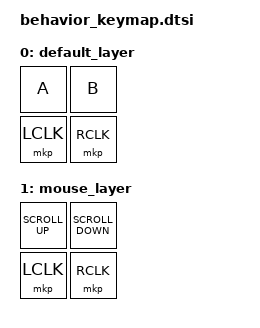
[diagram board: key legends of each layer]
#include <dt-bindings/zmk/keys.h>
#include <behaviors.dtsi>
#include <dt-bindings/zmk/kscan_mock.h>
#include <dt-bindings/zmk/pointing.h>

/* Force RC back to the 2-arg row/col variant for matrix transforms */
#undef RC
#include <dt-bindings/zmk/matrix_transform.h>

/ {
    aliases {
        bb-trackpad = &bb_trackpad;
    };

    chosen {
        zmk,kscan = &kscan0;
        zmk,matrix_transform = &default_transform;
    };

    /* Mock SPI bus for BlackBerry trackpad */
    test_spi: test_spi@2000 {
        compatible = "zephyr,spi-emul-controller";
        reg = <0x2000 0x100>;
        clock-frequency = <1000000>;
        #address-cells = <1>;
        #size-cells = <0>;

        bb_trackpad: bb_trackpad@0 {
            compatible = "blackberry,trackpad";
            reg = <0>;
            spi-max-frequency = <1000000>;
            irq-gpios = <&test_gpio 7 GPIO_ACTIVE_LOW>;
            scale-x = <2>;
            scale-y = <2>;
            invert-x;
            /* invert-y; */
        };
    };

    test_gpio: gpio@300 {
        compatible = "zephyr,gpio-emul";
        reg = <0x300 4>;
        gpio-controller;
        #gpio-cells = <2>;
        ngpios = <32>;
        status = "okay";
    };

    default_transform: keymap_transform_0 {
        compatible = "zmk,matrix-transform";
        columns = <2>;
        rows = <2>;
        map = <
            RC(0,0) RC(0,1)
            RC(1,0) RC(1,1)
        >;
    };

    kscan0: kscan {
        compatible = "zmk,kscan-mock";
        label = "KSCAN_MOCK";
        rows = <2>;
        columns = <2>;
        exit-after;
        events = <>;
    };

    /* Input processor chain for trackpad */
    trackpad_input_processors {
        compatible = "zmk,input-processor-chain";

        scaler: input_processor_scaler {
            compatible = "zmk,input-processor-scaler";
            #input-processor-cells = <0>;
            x-multiplier = <1>;
            y-multiplier = <1>;
            scale-multiplier = <1>;
        };

        temp_layer: input_processor_temp_layer {
            compatible = "zmk,input-processor-temp-layer";
            #input-processor-cells = <0>;
            layer = <1>;
            timeout-ms = <2000>;
            require-prior-idle-ms = <500>;
            excluded-positions = <0 1>;  /* Don't affect first two keys */
        };
    };

    keymap {
        compatible = "zmk,keymap";

        default_layer {
            bindings = <
                &kp A     &kp B
                &mkp LCLK &mkp RCLK
            >;
        };

        /* Mouse layer activated by trackpad movement */
        mouse_layer {
            bindings = <
                &kp K_SCROLL_UP   &kp K_SCROLL_DOWN
                &mkp LCLK         &mkp RCLK
            >;
        };
    };
};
